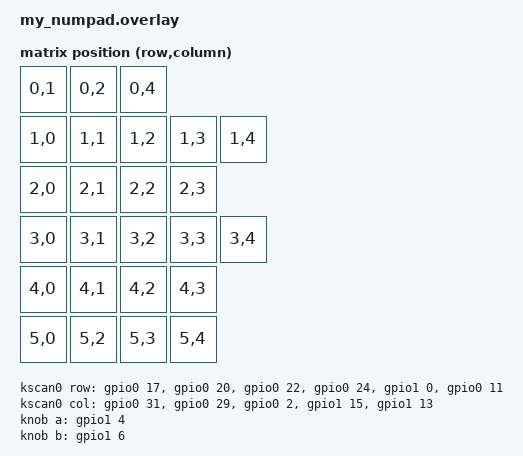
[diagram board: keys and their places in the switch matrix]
#include <dt-bindings/zmk/matrix_transform.h>

/ {
    chosen {
        zmk,kscan = &kscan0;
        zmk,physical-layout = &physical_layout0;
    };

    kscan0: kscan0 {
        compatible = "zmk,kscan-gpio-matrix";
        diode-direction = "col2row";
        wakeup-source;

        col-gpios
            = <&gpio0 31 GPIO_ACTIVE_HIGH>   
            , <&gpio0 29 GPIO_ACTIVE_HIGH>   
            , <&gpio0 2  GPIO_ACTIVE_HIGH>   
            , <&gpio1 15 GPIO_ACTIVE_HIGH>   
            , <&gpio1 13 GPIO_ACTIVE_HIGH>   
            ;

        row-gpios
            = <&gpio0 17 GPIO_ACTIVE_HIGH>   
            , <&gpio0 20 GPIO_ACTIVE_HIGH>   
            , <&gpio0 22 GPIO_ACTIVE_HIGH>   
            , <&gpio0 24 GPIO_ACTIVE_HIGH>   
            , <&gpio1 0  GPIO_ACTIVE_HIGH>   
            , <&gpio0 11 GPIO_ACTIVE_HIGH>   
            ;
    };

    default_transform: keymap_transform0 {
        compatible = "zmk,matrix-transform";
        columns = <5>;
        rows = <6>;

        map = <
            RC(0,1) RC(0,2) RC(0,4)
            RC(1,0) RC(1,1) RC(1,2) RC(1,3) RC(1,4)
            RC(2,0) RC(2,1) RC(2,2) RC(2,3)
            RC(3,0) RC(3,1) RC(3,2) RC(3,3) RC(3,4)
            RC(4,0) RC(4,1) RC(4,2) RC(4,3)
            RC(5,0) RC(5,2) RC(5,3) RC(5,4)
        >;
    };

    physical_layout0: physical_layout_0 {
        compatible = "zmk,physical-layout";
        display-name = "Default Layout";
        kscan = <&kscan0>;
        transform = <&default_transform>;
    };

    knob: encoder_knob {
        compatible = "alps,ec11";
        a-gpios = <&gpio1 4 (GPIO_ACTIVE_HIGH | GPIO_PULL_UP)>;
        b-gpios = <&gpio1 6 (GPIO_ACTIVE_HIGH | GPIO_PULL_UP)>;
        steps = <80>;
        status = "okay";
    };

    sensors: sensors {
        compatible = "zmk,keymap-sensors";
        sensors = <&knob>;
        triggers-per-rotation = <20>;
    };
};
